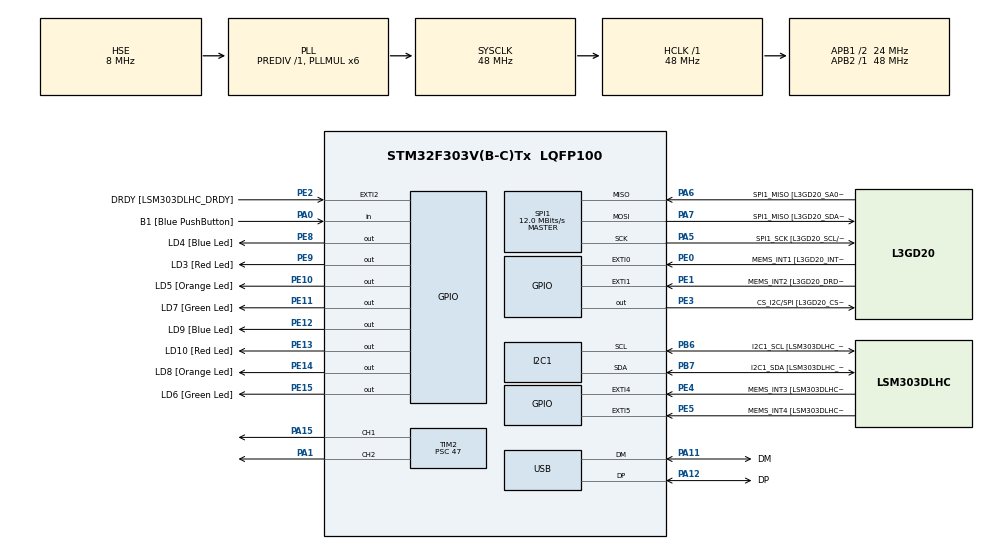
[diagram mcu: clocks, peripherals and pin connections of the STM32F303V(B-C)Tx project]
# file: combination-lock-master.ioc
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I2C1.Timing=0x2000090E
I2C1.Timing-I2C=0x2000090E
Mcu.Family=STM32F3
Mcu.Name=STM32F303V(B-C)Tx
Mcu.Package=LQFP100
NVIC.PriorityGroup=NVIC_PRIORITYGROUP_0
PA0.GPIO_Label=B1 [Blue PushButton]
PA0.Signal=GPIO_Input
PA1.Signal=S_TIM2_CH2
PA11.GPIO_Label=DM
PA11.Mode=Device
PA11.Signal=USB_DM
PA12.GPIO_Label=DP
PA12.Mode=Device
PA12.Signal=USB_DP
PA13.GPIO_Label=SWDIO
PA13.Mode=Serial_Wire
PA13.Signal=SYS_JTMS-SWDIO
PA14.GPIO_Label=SWCLK
PA14.Mode=Serial_Wire
PA14.Signal=SYS_JTCK-SWCLK
PA15.Signal=S_TIM2_CH1_ETR
PA5.GPIO_Label=SPI1_SCK [L3GD20_SCL/SPC]
PA5.Mode=Full_Duplex_Master
PA5.Signal=SPI1_SCK
PA6.GPIO_Label=SPI1_MISO [L3GD20_SA0/SDO]
PA6.Mode=Full_Duplex_Master
PA6.Signal=SPI1_MISO
PA7.GPIO_Label=SPI1_MISO [L3GD20_SDA/SDI/SDO]
PA7.Mode=Full_Duplex_Master
PA7.Signal=SPI1_MOSI
PB3.GPIO_Label=SWO
PB3.Signal=SYS_JTDO-TRACESWO
PB6.GPIO_Label=I2C1_SCL [LSM303DLHC_SCL]
PB6.GPIO_Pu=GPIO_PULLUP
PB6.Mode=I2C
PB6.Signal=I2C1_SCL
PB7.GPIO_Label=I2C1_SDA [LSM303DLHC_SDA]
PB7.GPIO_Pu=GPIO_PULLUP
PB7.Mode=I2C
PB7.Signal=I2C1_SDA
PC14-OSC32_IN.GPIO_Label=OSC32_IN
PC14-OSC32_IN.Signal=RCC_OSC32_IN
PC15-OSC32_OUT.GPIO_Label=OSC32_OUT
PC15-OSC32_OUT.Signal=RCC_OSC32_OUT
PE0.GPIO_Label=MEMS_INT1 [L3GD20_INT1]
PE0.GPIO_ModeDefaultEXTI=GPIO_MODE_EVT_RISING
PE0.Signal=GPXTI0
PE1.GPIO_Label=MEMS_INT2 [L3GD20_DRDY/INT2]
PE1.GPIO_ModeDefaultEXTI=GPIO_MODE_EVT_RISING
PE1.Signal=GPXTI1
PE10.GPIO_Label=LD5 [Orange Led]
PE10.Signal=GPIO_Output
PE11.GPIO_Label=LD7 [Green Led]
PE11.Signal=GPIO_Output
PE12.GPIO_Label=LD9 [Blue Led]
PE12.Signal=GPIO_Output
PE13.GPIO_Label=LD10 [Red Led]
PE13.Signal=GPIO_Output
PE14.GPIO_Label=LD8 [Orange Led]
PE14.Signal=GPIO_Output
PE15.GPIO_Label=LD6 [Green Led]
PE15.Signal=GPIO_Output
PE2.GPIO_Label=DRDY [LSM303DLHC_DRDY]
PE2.GPIO_ModeDefaultEXTI=GPIO_MODE_EVT_RISING
PE2.Signal=GPXTI2
PE3.GPIO_Label=CS_I2C/SPI [L3GD20_CS_I2C/SPI]
PE3.Signal=GPIO_Output
PE4.GPIO_Label=MEMS_INT3 [LSM303DLHC_INT1]
PE4.GPIO_ModeDefaultEXTI=GPIO_MODE_EVT_RISING
PE4.Signal=GPXTI4
PE5.GPIO_Label=MEMS_INT4 [LSM303DLHC_INT2]
PE5.GPIO_ModeDefaultEXTI=GPIO_MODE_EVT_RISING
PE5.Signal=GPXTI5
PE8.GPIO_Label=LD4 [Blue Led]
PE8.Signal=GPIO_Output
PE9.GPIO_Label=LD3 [Red Led]
PE9.Signal=GPIO_Output
PF0-OSC_IN.GPIO_Label=OSC_IN
PF0-OSC_IN.Mode=HSE-External-Clock-Source
PF0-OSC_IN.Signal=RCC_OSC_IN
PF1-OSC_OUT.GPIO_Label=OSC_OUT
PF1-OSC_OUT.Signal=RCC_OSC_OUT
ProjectManager.HeapSize=0x200
ProjectManager.StackSize=0x400
ProjectManager.TargetToolchain=STM32CubeIDE
RCC.AHBFreq_Value=48000000
RCC.APB1CLKDivider=RCC_HCLK_DIV2
RCC.APB1Freq_Value=24000000
RCC.APB1TimFreq_Value=48000000
RCC.APB2Freq_Value=48000000
RCC.APB2TimFreq_Value=48000000
RCC.CortexFreq_Value=48000000
RCC.HCLKFreq_Value=48000000
RCC.HSE_VALUE=8000000
RCC.HSI_VALUE=8000000
RCC.LSE_VALUE=32768
RCC.PLLMUL=RCC_PLL_MUL6
RCC.SYSCLKFreq_VALUE=48000000
RCC.SYSCLKSourceVirtual=RCC_SYSCLKSOURCE_PLLCLK
RCC.USBFreq_Value=48000000
SH.S_TIM2_CH1_ETR.0=TIM2_CH1,PWM Generation1 CH1
SH.S_TIM2_CH2.0=TIM2_CH2,PWM Generation2 CH2
SPI1.BaudRatePrescaler=SPI_BAUDRATEPRESCALER_4
SPI1.BaudRatePrescaler-Full_Duplex_Master=SPI_BAUDRATEPRESCALER_2
SPI1.CalculateBaudRate=12.0 MBits/s
SPI1.CalculateBaudRate-Full_Duplex_Master=24.0 MBits/s
SPI1.Direction=SPI_DIRECTION_2LINES
SPI1.Mode=SPI_MODE_MASTER
SPI1.Mode-Full_Duplex_Master=SPI_MODE_MASTER
SPI1.VirtualType=VM_MASTER
TIM2.AutoReloadPreload=TIM_AUTORELOAD_PRELOAD_ENABLE
TIM2.Channel-PWM\ Generation1\ CH1=TIM_CHANNEL_1
TIM2.Channel-PWM\ Generation2\ CH2=TIM_CHANNEL_2
TIM2.Period=20000
TIM2.Prescaler=47
TIM2.Pulse-PWM\ Generation1\ CH1=2000
board=STM32F3DISCOVERY

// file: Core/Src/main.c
/* USER CODE BEGIN Header */
/**
  ******************************************************************************
  * @file           : main.c
  * @brief          : Main program body
  ******************************************************************************
  * @attention
  *
  * Copyright (c) 2023 STMicroelectronics.
  * All rights reserved.
  *
  * This software is licensed under terms that can be found in the LICENSE file
  * in the root directory of this software component.
  * If no LICENSE file comes with this software, it is provided AS-IS.
  *
  ******************************************************************************
  */
/* USER CODE END Header */
#include "main.h"

/* USER CODE BEGIN Includes */
#include <stdio.h>
#include <stdint.h>
#include <stdlib.h>
#include <math.h>

#include "stm32f303xc.h"
#include "led.h"
#include "serial.h"
#include "serialise.h"
#include "timer.h"
#include "ptu.h"

/* USER CODE END Includes */

/* USER CODE BEGIN PD */

#define HOLD_TIME 2500

/* USER CODE END PD */

I2C_HandleTypeDef hi2c1;

SPI_HandleTypeDef hspi1;

TIM_HandleTypeDef htim2;

PCD_HandleTypeDef hpcd_USB_FS;

void SystemClock_Config(void);
static void MX_GPIO_Init(void);
static void MX_I2C1_Init(void);
static void MX_SPI1_Init(void);
static void MX_USB_PCD_Init(void);
static void MX_TIM2_Init(void);

/* USER CODE BEGIN 0 */

bool solved = false;
uint16_t delay = 0;
volatile uint16_t vertical_PWM = 1500;
volatile uint16_t horizontal_PWM = 1500;

/* USER CODE END 0 */

int main(void)
{

  /* MCU Configuration--------------------------------------------------------*/

  /* Reset of all peripherals, Initializes the Flash interface and the Systick. */
  HAL_Init();

  /* USER CODE BEGIN Init */

	enable_clocks();
	initialise_board();
	SerialInitialise(BAUD_115200, &USART1_PORT, 0x00);
	TimerInitialise(&TIMER3);  // For combination lock-related timing
	TimerInitialise(&TIMER4);  // For LED-related timing

  /* USER CODE END Init */

  /* Configure the system clock */
  SystemClock_Config();

  /* Initialize all configured peripherals */
  MX_GPIO_Init();
  MX_I2C1_Init();
  MX_SPI1_Init();
  MX_USB_PCD_Init();
  MX_TIM2_Init();
  /* USER CODE BEGIN 2 */

	HAL_TIM_PWM_Start(&htim2, TIM_CHANNEL_1);
	HAL_TIM_PWM_Start(&htim2, TIM_CHANNEL_2);

	int8_t horizontal_vel = 0;
	int8_t vertical_vel = 0;

	uint8_t test_buffer[100];

  /* USER CODE END 2 */

  /* Infinite loop */
  /* USER CODE BEGIN WHILE */
	while (1)
	{
		if (!solved)
		{
			read_velocity(&horizontal_vel, &vertical_vel, &USART1_PORT);
			show_correct_pos_led();  // Display 4 LEDs if the position is correct

			if (delay)
			{
				HAL_Delay(delay);
				delay = 0;
 				set_next_compare_time(&TIMER3, HOLD_TIME);  // After recording a value, set compare time
				// Without the above function, the velocity may be 0 for > HOLD_TIME without timer compare triggering
			}

			// Move the PTU -- For some reason, this doesn't work inside the function `move_ptu`
			const uint16_t PWM_min = 500;
			const uint16_t PWM_max = 2500;

			horizontal_PWM += horizontal_vel;
			vertical_PWM += vertical_vel;

			if (horizontal_PWM > PWM_max)
			{
				horizontal_PWM = PWM_max;
			}

			if (horizontal_PWM < PWM_min)
			{
				horizontal_PWM = PWM_min;
			}

			if (vertical_PWM > PWM_max)
			{
				vertical_PWM = PWM_max;
			}

			if (vertical_PWM < PWM_min)
			{
				vertical_PWM = PWM_min;
			}

			TIM2->CCR1 = vertical_PWM;
			TIM2->CCR2 = horizontal_PWM;

			set_compare_if_vel_not_zero(&TIMER3, horizontal_vel, vertical_vel, HOLD_TIME);  // Keep PTU still for 2000 ms to record value

			sprintf(test_buffer, "horizontal_PWM: %hu, vertical_PWM: %hu\r\n", horizontal_PWM, vertical_PWM);
			SerialOutputString(test_buffer, &USART1_PORT);

			HAL_Delay(10);
		}

		else
		{
			set_led(0b11111111);
			HAL_Delay(10000);
		}

    /* USER CODE END WHILE */

	}
}

void SystemClock_Config(void)
{
  RCC_OscInitTypeDef RCC_OscInitStruct = {0};
  RCC_ClkInitTypeDef RCC_ClkInitStruct = {0};
  RCC_PeriphCLKInitTypeDef PeriphClkInit = {0};

  /** Initializes the RCC Oscillators according to the specified parameters
  * in the RCC_OscInitTypeDef structure.
  */
  RCC_OscInitStruct.OscillatorType = RCC_OSCILLATORTYPE_HSI|RCC_OSCILLATORTYPE_HSE;
  RCC_OscInitStruct.HSEState = RCC_HSE_BYPASS;
  RCC_OscInitStruct.HSEPredivValue = RCC_HSE_PREDIV_DIV1;
  RCC_OscInitStruct.HSIState = RCC_HSI_ON;
  RCC_OscInitStruct.HSICalibrationValue = RCC_HSICALIBRATION_DEFAULT;
  RCC_OscInitStruct.PLL.PLLState = RCC_PLL_ON;
  RCC_OscInitStruct.PLL.PLLSource = RCC_PLLSOURCE_HSE;
  RCC_OscInitStruct.PLL.PLLMUL = RCC_PLL_MUL6;
  if (HAL_RCC_OscConfig(&RCC_OscInitStruct) != HAL_OK)
  {
    Error_Handler();
  }

  /** Initializes the CPU, AHB and APB buses clocks
  */
  RCC_ClkInitStruct.ClockType = RCC_CLOCKTYPE_HCLK|RCC_CLOCKTYPE_SYSCLK
                              |RCC_CLOCKTYPE_PCLK1|RCC_CLOCKTYPE_PCLK2;
  RCC_ClkInitStruct.SYSCLKSource = RCC_SYSCLKSOURCE_PLLCLK;
  RCC_ClkInitStruct.AHBCLKDivider = RCC_SYSCLK_DIV1;
  RCC_ClkInitStruct.APB1CLKDivider = RCC_HCLK_DIV2;
  RCC_ClkInitStruct.APB2CLKDivider = RCC_HCLK_DIV1;

  if (HAL_RCC_ClockConfig(&RCC_ClkInitStruct, FLASH_LATENCY_1) != HAL_OK)
  {
    Error_Handler();
  }
  PeriphClkInit.PeriphClockSelection = RCC_PERIPHCLK_USB|RCC_PERIPHCLK_I2C1;
  PeriphClkInit.I2c1ClockSelection = RCC_I2C1CLKSOURCE_HSI;
  PeriphClkInit.USBClockSelection = RCC_USBCLKSOURCE_PLL;
  if (HAL_RCCEx_PeriphCLKConfig(&PeriphClkInit) != HAL_OK)
  {
    Error_Handler();
  }
}

static void MX_I2C1_Init(void)
{

  hi2c1.Instance = I2C1;
  hi2c1.Init.Timing = 0x2000090E;
  hi2c1.Init.OwnAddress1 = 0;
  hi2c1.Init.AddressingMode = I2C_ADDRESSINGMODE_7BIT;
  hi2c1.Init.DualAddressMode = I2C_DUALADDRESS_DISABLE;
  hi2c1.Init.OwnAddress2 = 0;
  hi2c1.Init.OwnAddress2Masks = I2C_OA2_NOMASK;
  hi2c1.Init.GeneralCallMode = I2C_GENERALCALL_DISABLE;
  hi2c1.Init.NoStretchMode = I2C_NOSTRETCH_DISABLE;
  if (HAL_I2C_Init(&hi2c1) != HAL_OK)
  {
    Error_Handler();
  }

  /** Configure Analogue filter
  */
  if (HAL_I2CEx_ConfigAnalogFilter(&hi2c1, I2C_ANALOGFILTER_ENABLE) != HAL_OK)
  {
    Error_Handler();
  }

  /** Configure Digital filter
  */
  if (HAL_I2CEx_ConfigDigitalFilter(&hi2c1, 0) != HAL_OK)
  {
    Error_Handler();
  }

}

static void MX_SPI1_Init(void)
{

  /* SPI1 parameter configuration*/
  hspi1.Instance = SPI1;
  hspi1.Init.Mode = SPI_MODE_MASTER;
  hspi1.Init.Direction = SPI_DIRECTION_2LINES;
  hspi1.Init.DataSize = SPI_DATASIZE_4BIT;
  hspi1.Init.CLKPolarity = SPI_POLARITY_LOW;
  hspi1.Init.CLKPhase = SPI_PHASE_1EDGE;
  hspi1.Init.NSS = SPI_NSS_SOFT;
  hspi1.Init.BaudRatePrescaler = SPI_BAUDRATEPRESCALER_4;
  hspi1.Init.FirstBit = SPI_FIRSTBIT_MSB;
  hspi1.Init.TIMode = SPI_TIMODE_DISABLE;
  hspi1.Init.CRCCalculation = SPI_CRCCALCULATION_DISABLE;
  hspi1.Init.CRCPolynomial = 7;
  hspi1.Init.CRCLength = SPI_CRC_LENGTH_DATASIZE;
  hspi1.Init.NSSPMode = SPI_NSS_PULSE_ENABLE;
  if (HAL_SPI_Init(&hspi1) != HAL_OK)
  {
    Error_Handler();
  }

}

static void MX_TIM2_Init(void)
{

  TIM_MasterConfigTypeDef sMasterConfig = {0};
  TIM_OC_InitTypeDef sConfigOC = {0};

  htim2.Instance = TIM2;
  htim2.Init.Prescaler = 47;
  htim2.Init.CounterMode = TIM_COUNTERMODE_UP;
  htim2.Init.Period = 20000;
  htim2.Init.ClockDivision = TIM_CLOCKDIVISION_DIV1;
  htim2.Init.AutoReloadPreload = TIM_AUTORELOAD_PRELOAD_ENABLE;
  if (HAL_TIM_PWM_Init(&htim2) != HAL_OK)
  {
    Error_Handler();
  }
  sMasterConfig.MasterOutputTrigger = TIM_TRGO_RESET;
  sMasterConfig.MasterSlaveMode = TIM_MASTERSLAVEMODE_DISABLE;
  if (HAL_TIMEx_MasterConfigSynchronization(&htim2, &sMasterConfig) != HAL_OK)
  {
    Error_Handler();
  }
  sConfigOC.OCMode = TIM_OCMODE_PWM1;
  sConfigOC.Pulse = 2000;
  sConfigOC.OCPolarity = TIM_OCPOLARITY_HIGH;
  sConfigOC.OCFastMode = TIM_OCFAST_DISABLE;
  if (HAL_TIM_PWM_ConfigChannel(&htim2, &sConfigOC, TIM_CHANNEL_1) != HAL_OK)
  {
    Error_Handler();
  }
  if (HAL_TIM_PWM_ConfigChannel(&htim2, &sConfigOC, TIM_CHANNEL_2) != HAL_OK)
  {
    Error_Handler();
  }
  HAL_TIM_MspPostInit(&htim2);

}

static void MX_USB_PCD_Init(void)
{

  hpcd_USB_FS.Instance = USB;
  hpcd_USB_FS.Init.dev_endpoints = 8;
  hpcd_USB_FS.Init.speed = PCD_SPEED_FULL;
  hpcd_USB_FS.Init.phy_itface = PCD_PHY_EMBEDDED;
  hpcd_USB_FS.Init.low_power_enable = DISABLE;
  hpcd_USB_FS.Init.battery_charging_enable = DISABLE;
  if (HAL_PCD_Init(&hpcd_USB_FS) != HAL_OK)
  {
    Error_Handler();
  }

}

static void MX_GPIO_Init(void)
{
  GPIO_InitTypeDef GPIO_InitStruct = {0};

  /* GPIO Ports Clock Enable */
  __HAL_RCC_GPIOE_CLK_ENABLE();
  __HAL_RCC_GPIOC_CLK_ENABLE();
  __HAL_RCC_GPIOF_CLK_ENABLE();
  __HAL_RCC_GPIOA_CLK_ENABLE();
  __HAL_RCC_GPIOB_CLK_ENABLE();

  /*Configure GPIO pin Output Level */
  HAL_GPIO_WritePin(GPIOE, CS_I2C_SPI_Pin|LD4_Pin|LD3_Pin|LD5_Pin
                          |LD7_Pin|LD9_Pin|LD10_Pin|LD8_Pin
                          |LD6_Pin, GPIO_PIN_RESET);

  /*Configure GPIO pins : DRDY_Pin MEMS_INT3_Pin MEMS_INT4_Pin MEMS_INT1_Pin
                           MEMS_INT2_Pin */
  GPIO_InitStruct.Pin = DRDY_Pin|MEMS_INT3_Pin|MEMS_INT4_Pin|MEMS_INT1_Pin
                          |MEMS_INT2_Pin;
  GPIO_InitStruct.Mode = GPIO_MODE_EVT_RISING;
  GPIO_InitStruct.Pull = GPIO_NOPULL;
  HAL_GPIO_Init(GPIOE, &GPIO_InitStruct);

  /*Configure GPIO pins : CS_I2C_SPI_Pin LD4_Pin LD3_Pin LD5_Pin
                           LD7_Pin LD9_Pin LD10_Pin LD8_Pin
                           LD6_Pin */
  GPIO_InitStruct.Pin = CS_I2C_SPI_Pin|LD4_Pin|LD3_Pin|LD5_Pin
                          |LD7_Pin|LD9_Pin|LD10_Pin|LD8_Pin
                          |LD6_Pin;
  GPIO_InitStruct.Mode = GPIO_MODE_OUTPUT_PP;
  GPIO_InitStruct.Pull = GPIO_NOPULL;
  GPIO_InitStruct.Speed = GPIO_SPEED_FREQ_LOW;
  HAL_GPIO_Init(GPIOE, &GPIO_InitStruct);

  /*Configure GPIO pin : B1_Pin */
  GPIO_InitStruct.Pin = B1_Pin;
  GPIO_InitStruct.Mode = GPIO_MODE_INPUT;
  GPIO_InitStruct.Pull = GPIO_NOPULL;
  HAL_GPIO_Init(B1_GPIO_Port, &GPIO_InitStruct);

}

void Error_Handler(void)
{
  __disable_irq();
  while (1)
  {
  }
}
